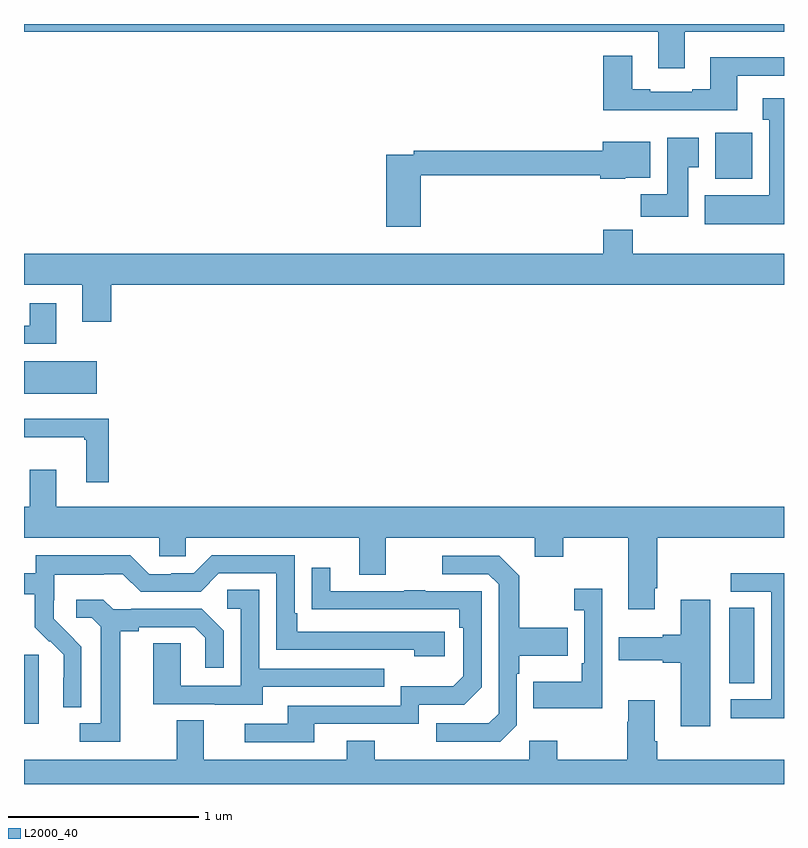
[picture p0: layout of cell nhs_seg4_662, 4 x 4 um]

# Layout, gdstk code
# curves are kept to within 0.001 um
import gdstk
lib = gdstk.Library(unit=1e-6, precision=1e-09)
def R(c, l, rs):  # rectangles x0, y0, x1, y1
    for r in rs: c.add(gdstk.rectangle(r[:2], r[2:], *l))
def P(c, l, *ps):  # polygons
    for p in ps: c.add(gdstk.Polygon(p, *l))
L2000_40 = (2000, 40)

nhs_seg4_662 = lib.new_cell('nhs_seg4_662')
R(nhs_seg4_662, L2000_40, [(145,753.218,145.078,753.579), (148.712,753.43,148.843,753.827), (145,754.955,145.384,755.125), (148.637,756.086,148.834,756.328)])
P(nhs_seg4_662, L2000_40, [(148.477,756.86),(149,756.86),(149,756.9),(145,756.9),(145,756.86),(148.337,756.86),(148.337,756.666),(148.477,756.666)],
  [(148.753,756.627),(149,756.627),(149,756.724),(148.613,756.724),(148.613,756.556),(148.517,756.556),(148.517,756.543),(148.297,756.543),(148.297,756.556),(148.201,756.556),(148.201,756.733),(148.049,756.733),(148.049,756.446),(148.753,756.446)],
  [(149,756.508),(148.889,756.508),(148.889,756.395),(148.922,756.395),(148.922,755.998),(148.583,755.998),(148.583,755.846),(149,755.846)],
  [(148.495,756.145),(148.552,756.145),(148.552,756.301),(148.385,756.301),(148.385,756.004),(148.246,756.004),(148.246,755.886),(148.495,755.886)],
  [(147.089,756.105),(148.034,756.105),(148.034,756.086),(148.164,756.086),(148.164,756.092),(148.297,756.092),(148.297,756.28),(148.046,756.28),(148.046,756.233),(147.052,756.233),(147.052,756.213),(146.906,756.213),(146.906,755.832),(147.089,755.832)],
  [(145.46,755.528),(149,755.528),(149,755.692),(148.205,755.692),(148.205,755.816),(148.049,755.816),(148.049,755.692),(145,755.692),(145,755.528),(145.307,755.528),(145.307,755.334),(145.46,755.334)],
  [(145.171,755.431),(145.031,755.431),(145.031,755.313),(145,755.313),(145,755.217),(145.171,755.217)],
  [(145.445,754.822),(145,754.822),(145,754.724),(145.317,754.724),(145.317,754.713),(145.328,754.713),(145.328,754.488),(145.445,754.488)],
  [(148.321,753.931),(148.334,753.931),(148.334,754.196),(149,754.196),(149,754.36),(145.171,754.36),(145.171,754.555),(145.031,754.555),(145.031,754.36),(145,754.36),(145,754.196),(145.713,754.196),(145.713,754.098),(145.851,754.098),(145.851,754.196),(146.765,754.196),(146.765,754.002),(146.905,754.002),(146.905,754.196),(147.689,754.196),(147.689,754.097),(147.837,754.097),(147.837,754.196),(148.181,754.196),(148.181,753.819),(148.321,753.819)],
  [(145.057,753.9),(145.057,753.725),(145.134,753.648),(145.137,753.651),(145.208,753.581),(145.208,753.458),(145.206,753.458),(145.206,753.304),(145.302,753.304),(145.302,753.622),(145.156,753.77),(145.156,753.867),(145.158,753.867),(145.158,754.001),(145.421,754.001),(145.421,754.005),(145.521,754.005),(145.614,753.912),(145.929,753.912),(146.025,754.008),(146.328,754.008),(146.328,753.606),(147.053,753.606),(147.053,753.572),(147.214,753.572),(147.214,753.702),(146.437,753.702),(146.437,753.799),(146.424,753.799),(146.424,754.104),(145.989,754.104),(145.893,754.008),(145.775,754.008),(145.775,754.005),(145.659,754.005),(145.559,754.105),(145.062,754.105),(145.062,754.008),(145,754.008),(145,753.9)],
  [(147.594,753.21),(147.594,753.479),(147.607,753.479),(147.607,753.575),(147.863,753.575),(147.863,753.723),(147.607,753.723),(147.607,753.995),(147.501,754.101),(147.201,754.101),(147.201,754.005),(147.444,754.005),(147.498,753.951),(147.498,753.27),(147.447,753.219),(147.171,753.219),(147.171,753.123),(147.507,753.123)],
  [(146.527,753.216),(147.078,753.216),(147.078,753.318),(147.318,753.318),(147.408,753.408),(147.408,753.915),(147.113,753.915),(147.113,753.92),(147.001,753.92),(147.001,753.915),(146.611,753.915),(146.611,754.039),(146.515,754.039),(146.515,753.82),(147.292,753.819),(147.292,753.722),(147.312,753.722),(147.312,753.468),(147.259,753.415),(146.982,753.415),(146.982,753.312),(146.387,753.312),(146.387,753.216),(146.163,753.216),(146.163,753.12),(146.527,753.12)],
  [(148.932,753.912),(148.932,753.345),(148.719,753.345),(148.719,753.247),(149,753.247),(149,754.008),(148.719,754.008),(148.719,753.912)],
  [(148.044,753.928),(147.897,753.928),(147.897,753.815),(147.948,753.815),(147.948,753.535),(147.936,753.535),(147.936,753.439),(147.679,753.439),(147.679,753.299),(148.044,753.299)],
  [(146.257,753.411),(146.897,753.411),(146.897,753.507),(146.238,753.507),(146.238,753.923),(146.07,753.923),(146.07,753.822),(146.142,753.822),(146.142,753.417),(145.824,753.417),(145.824,753.641),(145.679,753.641),(145.679,753.321),(146.003,753.321),(146.003,753.317),(146.257,753.317)],
  [(145.507,753.704),(145.603,753.704),(145.603,753.726),(145.898,753.726),(145.955,753.669),(145.955,753.513),(146.052,753.513),(146.052,753.706),(145.936,753.822),(145.564,753.822),(145.564,753.819),(145.47,753.819),(145.418,753.871),(145.275,753.871),(145.275,753.774),(145.356,753.774),(145.403,753.727),(145.403,753.219),(145.293,753.219),(145.293,753.123),(145.507,753.123)],
  [(148.612,753.871),(148.457,753.871),(148.457,753.686),(148.361,753.686),(148.361,753.673),(148.131,753.673),(148.131,753.551),(148.361,753.551),(148.361,753.539),(148.457,753.539),(148.457,753.204),(148.612,753.204)],
  [(149,753.028),(148.334,753.028),(148.334,753.124),(148.321,753.124),(148.321,753.34),(148.181,753.34),(148.181,753.227),(148.174,753.227),(148.174,753.028),(147.807,753.028),(147.807,753.127),(147.66,753.127),(147.66,753.028),(146.847,753.028),(146.847,753.127),(146.699,753.127),(146.699,753.028),(145.945,753.028),(145.945,753.236),(145.805,753.236),(145.805,753.028),(145,753.028),(145,752.9),(149,752.9)])

lib.write_gds('nhs_seg4_662.gds')
